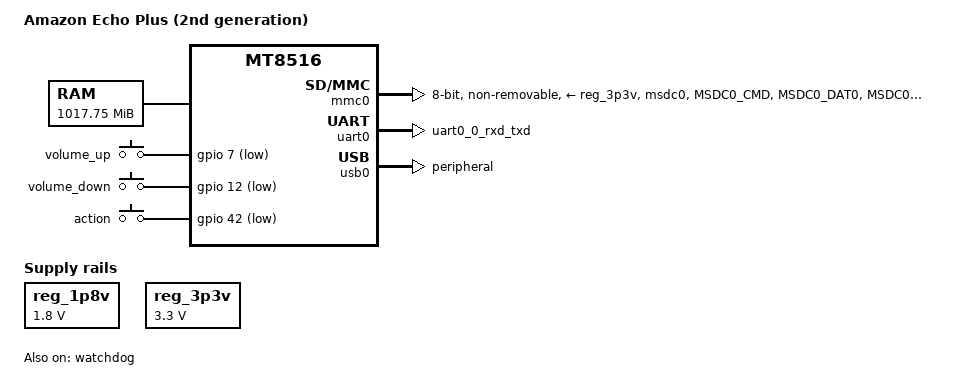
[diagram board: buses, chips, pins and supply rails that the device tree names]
// SPDX-License-Identifier: GPL-2.0 OR MIT
/*
 * Amazon Echo Plus (2nd generation), codename "lidar".
 *
 * U-Boot runs here as a second stage: BootROM -> preloader -> BL31 -> Amazon
 * LK -> U-Boot (packed as the "kernel" of an Android boot image in boot_a or
 * boot_b). DRAM, PLLs and the CPU rail are already set up by the preloader,
 * so this tree only describes what U-Boot itself drives.
 */

/dts-v1/;

#include <dt-bindings/gpio/gpio.h>
#include <dt-bindings/input/linux-event-codes.h>
#include "mt8516.dtsi"

/ {
	model = "Amazon Echo Plus (2nd generation)";
	/* LK appends/selects the DTB whose first compatible matches exactly */
	compatible = "amzn,lidar-pvt", "amzn,lidar", "mediatek,mt8516";

	chosen {
		stdout-path = &uart0;
	};

	memory@40000000 {
		device_type = "memory";
		/* LK reports one 1 GiB rank; it reserves the top 6.25 MiB (TEE at 0x7f9c0000) */
		reg = <0x40000000 0x3f9c0000>;
	};

	reserved-memory {
		#address-cells = <1>;
		#size-cells = <1>;
		ranges;

		/* 192 KiB reserved for ARM Trusted Firmware (BL31) */
		bl31_secmon_reserved: secmon@43000000 {
			no-map;
			reg = <0x43000000 0x30000>;
		};
	};

	reg_1p8v: regulator-1p8v {
		compatible = "regulator-fixed";
		regulator-name = "vio18";
		regulator-min-microvolt = <1800000>;
		regulator-max-microvolt = <1800000>;
		regulator-boot-on;
		regulator-always-on;
	};

	reg_3p3v: regulator-3p3v {
		compatible = "regulator-fixed";
		regulator-name = "vcc33";
		regulator-min-microvolt = <3300000>;
		regulator-max-microvolt = <3300000>;
		regulator-boot-on;
		regulator-always-on;
	};

	gpio-keys {
		compatible = "gpio-keys";

		key-volume-up {
			label = "volume_up";
			gpios = <&gpio 7 GPIO_ACTIVE_LOW>;
			linux,code = <KEY_VOLUMEUP>;
		};

		key-volume-down {
			label = "volume_down";
			gpios = <&gpio 12 GPIO_ACTIVE_LOW>;
			linux,code = <KEY_VOLUMEDOWN>;
		};

		key-action {
			label = "action";
			gpios = <&gpio 42 GPIO_ACTIVE_LOW>;
			linux,code = <KEY_PROPS>;
		};
	};
};

&mmc0 {
	pinctrl-names = "default";
	pinctrl-0 = <&mmc0_pins_default>;
	bus-width = <8>;
	max-frequency = <200000000>;
	cap-mmc-highspeed;
	mmc-hs200-1_8v;
	cap-mmc-hw-reset;
	vmmc-supply = <&reg_3p3v>;
	vqmmc-supply = <&reg_1p8v>;
	non-removable;
	status = "okay";
};

&pinctrl {
	mmc0_pins_default: mmc0default {
		mux {
			function = "msdc";
			groups = "msdc0";
		};

		conf-cmd-data {
			pins = "MSDC0_CMD", "MSDC0_DAT0", "MSDC0_DAT1",
			       "MSDC0_DAT2", "MSDC0_DAT3", "MSDC0_DAT4",
			       "MSDC0_DAT5", "MSDC0_DAT6", "MSDC0_DAT7";
			input-enable;
			bias-pull-up;
		};

		conf-clk {
			pins = "MSDC0_CLK";
			bias-pull-down;
		};

		conf-rst {
			pins = "MSDC0_RSTB";
			bias-pull-up;
		};
	};

	uart0_pins: uart0 {
		mux {
			function = "uart";
			groups = "uart0_0_rxd_txd";
		};
	};
};

/* Debug console on test pad TM58, 921600 8N1, 1.8 V */
&uart0 {
	/*
	 * Used by serial_mtk when the topckgen clock lookup fails before
	 * relocation; UART0 runs from the 26 MHz crystal (same as DEBUG_UART).
	 */
	clock-frequency = <26000000>;
	pinctrl-names = "default";
	pinctrl-0 = <&uart0_pins>;
	status = "okay";
};

&watchdog {
	status = "okay";
};

/* Only USB port: the pogo pads on the base. Used for U-Boot fastboot. */
&usb0 {
	status = "okay";
	dr_mode = "peripheral";
};
